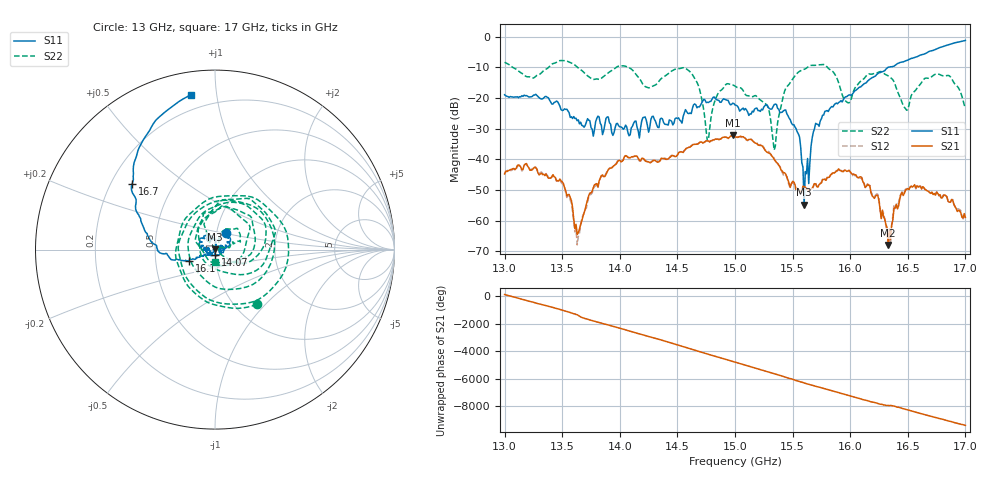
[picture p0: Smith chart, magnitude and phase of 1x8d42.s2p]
!Keysight Technologies,P9374A,MY57211807,A.19.30.04
!Date: Friday, May 08, 2026 15:20:17
!Correction: S11(C  2-Port  )
!S21(C  2-Port  )
!S12(C  2-Port  )
!S22(C  2-Port  )
!S2P File: Measurements: S11, S21, S12, S22:
# Hz S  dB  R 50
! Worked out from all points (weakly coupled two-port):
!   401 points, 13 GHz to 17 GHz, reference 50 ohm
!   highest |S21| = -32.07 dB at 14.98 GHz (marker M1); lowest = -68.0 dB at 16.33 GHz (marker M2)
!   lowest |S11| = -54.8 dB at 15.6 GHz (marker M3), VSWR 1.00, Z = 50 + j0.181 ohm
!   |S11| at or under -10 dB: start of sweep to 16.33 GHz
!   |S22| runs from -37.0 to -7.7 dB; largest |S21 - S12| = 0.0012
!   S11 on the Smith chart (normalised r, x): 13 GHz: 1.11, +0.21; 14.07 GHz: 1.00, -0.06; 16.1 GHz: 0.74, -0.09; 16.7 GHz: 0.29, +0.32; 17 GHz: 0.12, +0.85
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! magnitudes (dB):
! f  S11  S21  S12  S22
! 13 GHz  -18.9  -44.8  -44.7  -8.3
! 13.49 GHz  -23.8  -47.0  -47.5  -7.7
! 13.63 GHz  -27.4  -64.5  -68.0  -9.9
! 13.67 GHz  -28.9  -60.1  -59.4  -11.0
! 14.07 GHz  -31.2  -39.3  -39.4  -9.9
! 14.34 GHz  -29.6  -40.8  -40.6  -14.5
! 14.61 GHz  -24.9  -36.0  -35.9  -11.4
! 14.76 GHz  -21.4  -34.0  -33.9  -34.0
! 14.98 GHz  -21.7  -32.1  -32.1  -15.7
! 15 GHz  -22.2  -32.6  -32.9  -16.1
! 15.27 GHz  -22.2  -37.4  -37.2  -22.0
! 15.34 GHz  -22.1  -40.0  -39.7  -37.0
! 15.54 GHz  -31.0  -49.5  -49.5  -11.9
! 15.6 GHz  -54.8  -48.9  -49.1  -10.7
! 15.67 GHz  -33.0  -49.5  -49.7  -9.3
! 15.98 GHz  -19.2  -43.8  -43.9  -21.5
! 16.1 GHz  -16.0  -45.9  -46.2  -14.2
! 16.33 GHz  -9.9  -68.0  -68.4  -12.8
! 16.34 GHz  -9.9  -62.7  -64.1  -13.0
! 16.49 GHz  -7.7  -49.8  -49.5  -24.0
! 16.7 GHz  -4.6  -51.1  -51.1  -13.2
! 17 GHz  -1.2  -59.0  -59.1  -23.1
